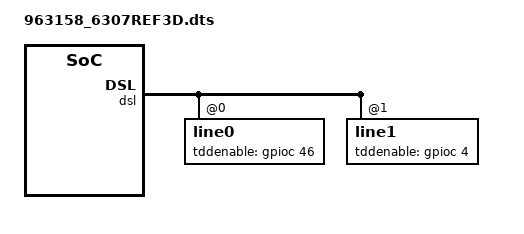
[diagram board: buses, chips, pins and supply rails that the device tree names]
#include "963158REF3D.dts"

/ {
	buttons {
		reset_button {
			ext_irq = <&bca_extintr 78 GPIO_ACTIVE_LOW (BCA_EXTINTR_TYPE_LOW_LEVEL | BCA_EXTINTR_TYPE_SENSE_EDGE)>;
		};
	};
};

&sfp1 {
		mod-def0 = <&bca_extintr 12 GPIO_ACTIVE_LOW (BCA_EXTINTR_TYPE_BOTH_EDGE | BCA_EXTINTR_TYPE_SENSE_EDGE)>;
};

&hsspi {
	voice0 {
		reset-gpio = <&gpioc 64 GPIO_ACTIVE_LOW>;
	};
};

&dsl {
	line0@0 {
		afeid = <(DSL_AFE_CHIP_GFAST_CH0 | DSL_AFE_LD_6307 | DSL_AFE_FE_REV_6307_REV_12_7_60_2 | DSL_AFE_FE_RNC)>;
		secondary-afeid = <(DSL_AFE_CHIP_GFAST_CH0 | DSL_AFE_LD_6307 | DSL_AFE_FE_ANNEXA | DSL_AFE_FE_REV_6307_REV_12_7_60 | DSL_AFE_FE_RNC)>;
		tddenable-gpio = <&gpioc 46 GPIO_ACTIVE_HIGH>;
	};

	line1@1 {
		afeid = <(DSL_AFE_CHIP_GFAST_CH1 | DSL_AFE_LD_6307 | DSL_AFE_FE_REV_6307_REV_12_7_60_1 | DSL_AFE_FE_RNC)>;
		secondary-afeid = <(DSL_AFE_CHIP_GFAST_CH1 | DSL_AFE_LD_6307 | DSL_AFE_FE_ANNEXA | DSL_AFE_FE_REV_6307_REV_12_7_60 | DSL_AFE_FE_RNC)>;
		tddenable-gpio = <&gpioc 4 GPIO_ACTIVE_HIGH>;
	};
};
